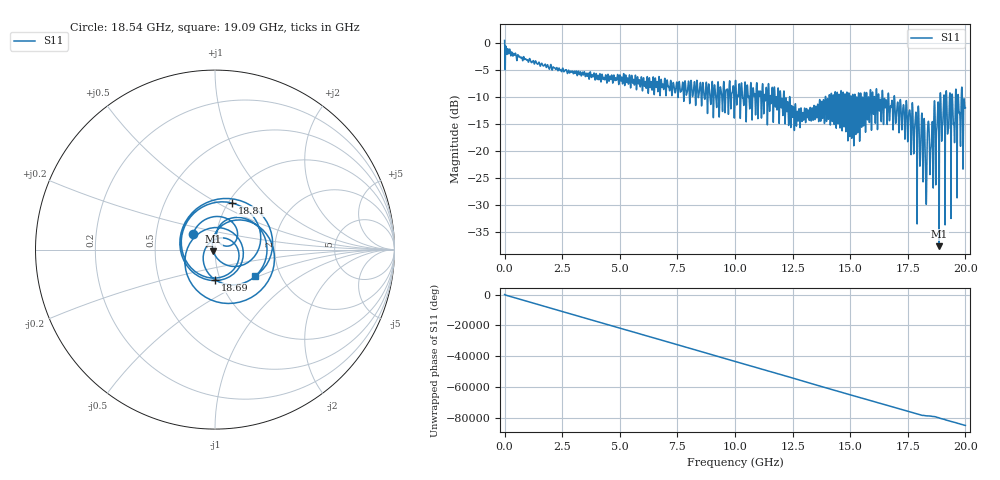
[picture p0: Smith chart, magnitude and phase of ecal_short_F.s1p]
! MS46122B
! 2250307/22442219
! 7/28/2025 7:57:01 AM
! C:\USERS\SPARKY\DOCUMENTS\VNA_DATA\JULY28_2025\295K\ECAL_SHORT_F.S1P
! CHANNEL.1
! TR.MEASUREMENT
! RAW.DATA
# GHZ S RI R 50.0
! FREQ.GHZ  S11RE  S11IM
!; PortSelection: Port_1
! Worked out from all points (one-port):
!   10001 points, 1 MHz to 20 GHz, reference 50 ohm
!   lowest |S11| = -37.7 dB at 18.86 GHz (marker M1), VSWR 1.03, Z = 49 - j0.864 ohm
!   |S11| at or under -10 dB: 12.38 GHz to 13.93 GHz (1.549 GHz wide, 11.8 % of centre); 16.67 GHz to 16.91 GHz (235.8 MHz wide, 1.4 % of centre); 16.92 GHz to 18.9 GHz (1.977 GHz wide, 11 % of centre) (the widest 3 of 73)
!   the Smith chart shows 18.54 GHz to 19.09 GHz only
!   S11 on the Smith chart (normalised r, x): 18.54 GHz: 0.77, +0.14; 18.69 GHz: 0.95, -0.33; 18.81 GHz: 1.04, +0.59; 19.09 GHz: 1.48, -0.47
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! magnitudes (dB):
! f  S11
! 1 MHz  0.4
! 2.501 GHz  -5.0
! 5.001 GHz  -6.0
! 7.501 GHz  -8.4
! 10 GHz  -8.4
! 11.79 GHz  -10.0
! 12.5 GHz  -13.8
! 14.27 GHz  -9.7
! 15 GHz  -13.8
! 16.06 GHz  -10.1
! 17.5 GHz  -18.3
! 17.78 GHz  -17.7
! 17.83 GHz  -14.0
! 17.9 GHz  -26.6
! 17.98 GHz  -13.3
! 18.16 GHz  -25.5
! 18.24 GHz  -17.7
! 18.54 GHz  -16.4
! 18.59 GHz  -20.8
! 18.69 GHz  -15.5
! 18.73 GHz  -18.4
! 18.81 GHz  -11.2
! 18.86 GHz  -37.7
! 19.09 GHz  -11.5
! 19.45 GHz  -12.3
! 19.51 GHz  -15.2
! 19.56 GHz  -11.6
! 20 GHz  -12.1
